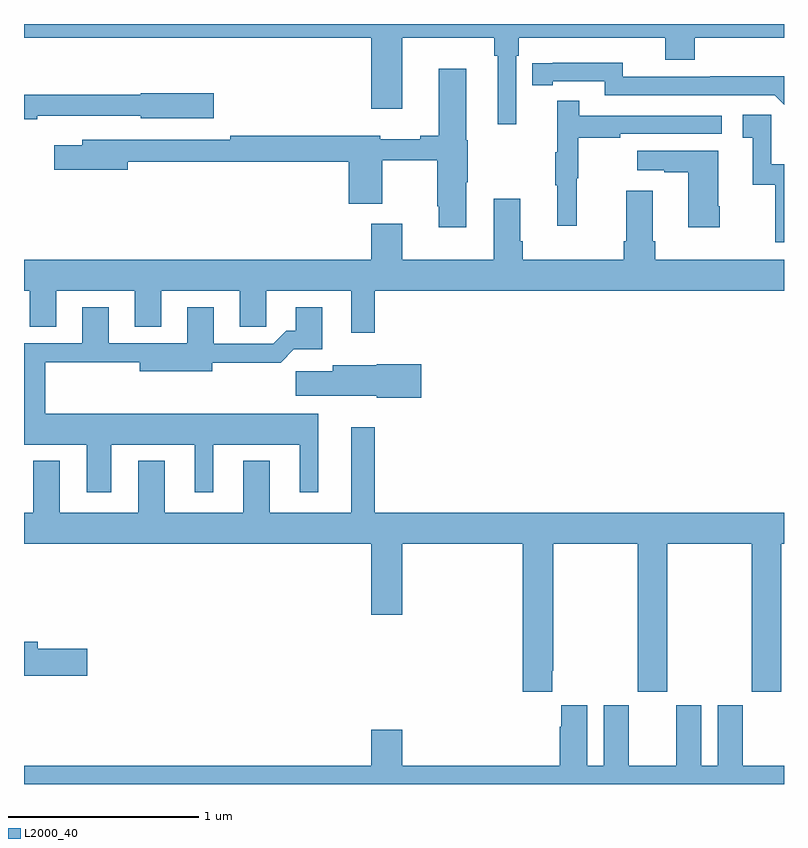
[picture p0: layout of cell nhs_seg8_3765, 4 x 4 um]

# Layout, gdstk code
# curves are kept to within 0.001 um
import gdstk
lib = gdstk.Library(unit=1e-6, precision=1e-09)
def P(c, l, *ps):  # polygons
    for p in ps: c.add(gdstk.Polygon(p, *l))
L2000_40 = (2000, 40)

nhs_seg8_3765 = lib.new_cell('nhs_seg8_3765')
P(nhs_seg8_3765, L2000_40, [(345.591,1121.732),(345.605,1121.732),(345.605,1121.828),(346.376,1121.828),(346.376,1121.711),(346.529,1121.711),(346.529,1121.828),(347,1121.828),(347,1121.9),(343,1121.9),(343,1121.828),(344.828,1121.828),(344.828,1121.454),(344.992,1121.454),(344.992,1121.828),(345.475,1121.828),(345.475,1121.732),(345.494,1121.732),(345.494,1121.373),(345.591,1121.373)],
  [(347,1121.624),(346.612,1121.624),(346.612,1121.622),(346.152,1121.622),(346.152,1121.695),(345.676,1121.694),(345.676,1121.578),(345.784,1121.578),(345.784,1121.598),(346.056,1121.598),(346.056,1121.526),(346.95,1121.526),(347,1121.476)],
  [(345.328,1121.068),(345.336,1121.068),(345.336,1121.289),(345.328,1121.289),(345.328,1121.665),(345.182,1121.665),(345.182,1121.312),(345.086,1121.312),(345.086,1121.293),(344.874,1121.293),(344.874,1121.312),(344.086,1121.312),(344.086,1121.292),(343.307,1121.292),(343.307,1121.263),(343.158,1121.263),(343.158,1121.134),(343.546,1121.134),(343.546,1121.176),(344.708,1121.176),(344.708,1120.953),(344.886,1120.953),(344.886,1121.184),(345.175,1121.184),(345.175,1120.942),(345.182,1120.942),(345.182,1120.83),(345.328,1120.83)],
  [(343.07,1121.418),(343.614,1121.418),(343.614,1121.405),(343.999,1121.405),(343.999,1121.535),(343.614,1121.535),(343.614,1121.527),(343,1121.527),(343,1121.398),(343.07,1121.398)],
  [(345.908,1121.088),(345.916,1121.088),(345.916,1121.302),(346.139,1121.302),(346.139,1121.322),(346.672,1121.322),(346.672,1121.418),(345.923,1121.418),(345.923,1121.497),(345.806,1121.497),(345.806,1121.225),(345.795,1121.225),(345.795,1121.051),(345.806,1121.051),(345.806,1120.839),(345.908,1120.839)],
  [(347,1121.163),(346.932,1121.163),(346.932,1121.422),(346.782,1121.422),(346.782,1121.301),(346.835,1121.301),(346.835,1121.055),(346.953,1121.055),(346.953,1120.752),(347,1120.752)],
  [(346.662,1120.942),(346.654,1120.942),(346.654,1121.233),(346.227,1121.233),(346.227,1121.129),(346.37,1121.129),(346.37,1121.119),(346.496,1121.119),(346.496,1120.83),(346.662,1120.83)],
  [(344.845,1120.496),(347,1120.496),(347,1120.66),(346.322,1120.66),(346.322,1120.756),(346.309,1120.756),(346.309,1121.023),(346.169,1121.023),(346.169,1120.756),(346.157,1120.756),(346.157,1120.66),(345.626,1120.66),(345.626,1120.756),(345.613,1120.756),(345.613,1120.981),(345.473,1120.981),(345.473,1120.66),(344.992,1120.66),(344.992,1120.849),(344.828,1120.849),(344.828,1120.66),(343,1120.66),(343,1120.496),(343.031,1120.496),(343.031,1120.306),(343.171,1120.306),(343.171,1120.496),(343.583,1120.496),(343.583,1120.306),(343.723,1120.306),(343.723,1120.496),(344.135,1120.496),(344.135,1120.306),(344.274,1120.306),(344.274,1120.496),(344.723,1120.496),(344.723,1120.275),(344.845,1120.275)],
  [(343.459,1119.686),(343.898,1119.686),(343.898,1119.435),(343.996,1119.435),(343.996,1119.686),(344.45,1119.686),(344.45,1119.435),(344.548,1119.435),(344.548,1119.85),(343.111,1119.85),(343.111,1120.12),(343.61,1120.12),(343.61,1120.073),(343.99,1120.073),(343.99,1120.118),(344.351,1120.118),(344.42,1120.187),(344.569,1120.187),(344.569,1120.408),(344.429,1120.408),(344.429,1120.285),(344.38,1120.285),(344.313,1120.218),(343.999,1120.218),(343.999,1120.408),(343.859,1120.408),(343.859,1120.221),(343.447,1120.221),(343.447,1120.408),(343.307,1120.408),(343.307,1120.221),(343,1120.221),(343,1119.686),(343.331,1119.686),(343.331,1119.435),(343.459,1119.435)],
  [(345.091,1120.11),(344.856,1120.11),(344.856,1120.105),(344.624,1120.105),(344.624,1120.073),(344.43,1120.073),(344.43,1119.944),(344.856,1119.944),(344.856,1119.932),(345.091,1119.932)],
  [(345.781,1118.497),(345.786,1118.497),(345.786,1119.164),(346.231,1119.164),(346.231,1118.385),(346.386,1118.385),(346.386,1119.164),(346.831,1119.164),(346.831,1118.385),(346.986,1118.385),(346.986,1119.164),(347,1119.164),(347,1119.328),(344.845,1119.328),(344.845,1119.778),(344.723,1119.778),(344.723,1119.328),(344.293,1119.328),(344.293,1119.601),(344.153,1119.601),(344.153,1119.328),(343.741,1119.328),(343.741,1119.601),(343.601,1119.601),(343.601,1119.328),(343.189,1119.328),(343.189,1119.601),(343.049,1119.601),(343.049,1119.328),(343,1119.328),(343,1119.164),(344.828,1119.164),(344.828,1118.79),(344.992,1118.79),(344.992,1119.164),(345.626,1119.164),(345.626,1118.385),(345.781,1118.385)],
  [(343.333,1118.612),(343.072,1118.612),(343.072,1118.648),(343,1118.648),(343,1118.47),(343.333,1118.47)],
  [(347,1117.996),(346.783,1117.996),(346.783,1118.314),(346.652,1118.314),(346.652,1117.996),(346.564,1117.996),(346.564,1118.314),(346.433,1118.314),(346.433,1117.996),(346.183,1117.996),(346.183,1118.314),(346.052,1118.314),(346.052,1117.996),(345.964,1117.996),(345.964,1118.314),(345.827,1118.314),(345.827,1118.201),(345.821,1118.201),(345.821,1117.996),(344.992,1117.996),(344.992,1118.185),(344.828,1118.185),(344.828,1117.996),(343,1117.996),(343,1117.9),(347,1117.9)])

lib.write_gds('nhs_seg8_3765.gds')
